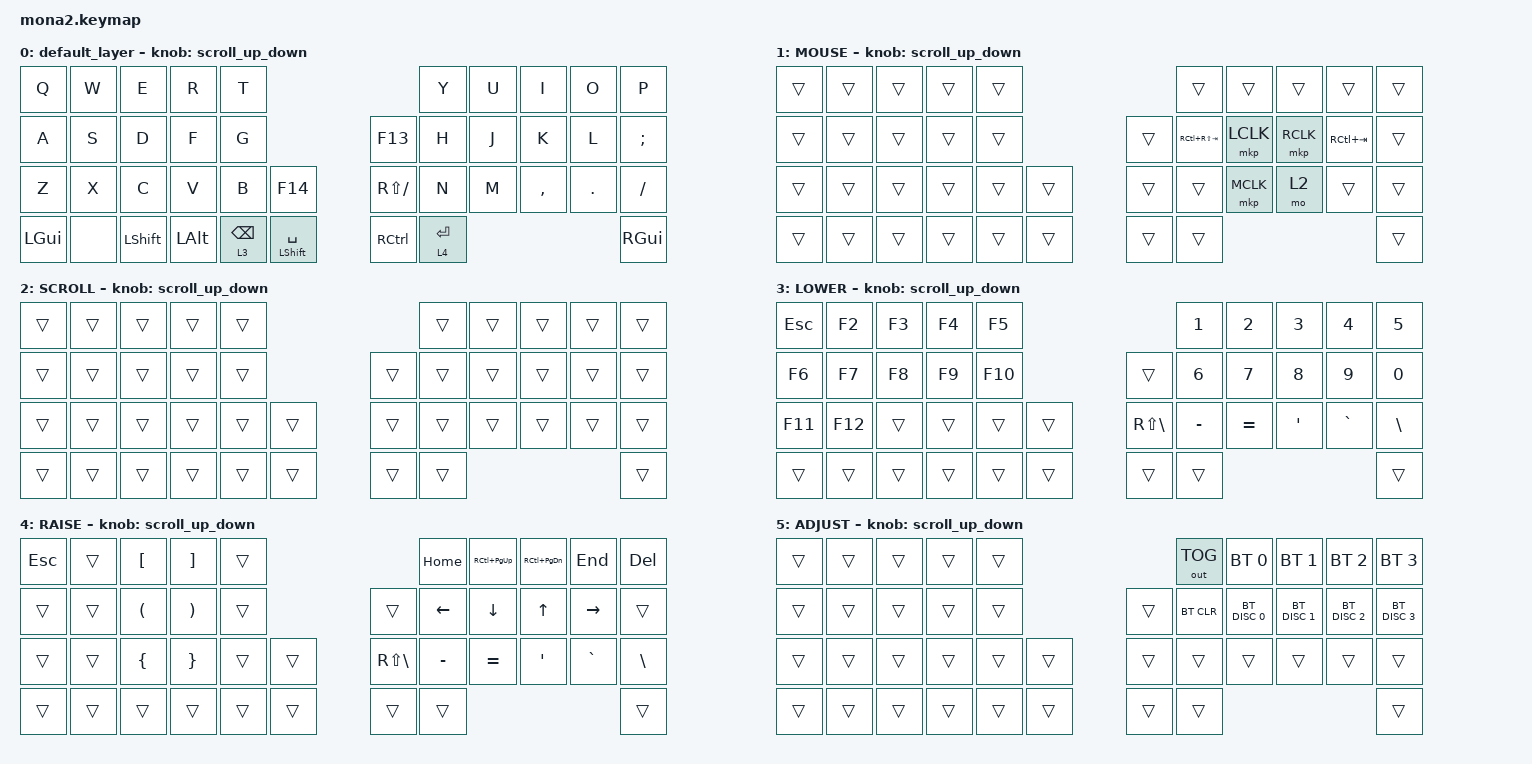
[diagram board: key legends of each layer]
#include <input/processors.dtsi>
#include <dt-bindings/zmk/input_transform.h>
#include <zephyr/dt-bindings/input/input-event-codes.h>
#include <behaviors.dtsi>
#include <dt-bindings/zmk/bt.h>
#include <dt-bindings/zmk/keys.h>
#include <dt-bindings/zmk/outputs.h>
#include <dt-bindings/zmk/pointing.h>

#define ZMK_POINTING_DEFAULT_SCRL_VAL 100
#define MOUSE 1
#define SCROLL 2

&mt {
    flavor = "balanced";
    quick-tap-ms = <0>;
};

&lt {
    quick-tap-ms = <300>;
    flavor = "balanced";
};

/ {
    combos {
        compatible = "zmk,combos";

        layer4_ESC {
            bindings = <&lt2 3 ESC>;
            key-positions = <39 38>;
        };

        WE_TAB {
            bindings = <&kp TAB>;
            timeout-ms = <20>;
            key-positions = <1 2>;
        };

        DF_LANG2 {
            bindings = <&kp LANG2>;
            timeout-ms = <20>;
            key-positions = <12 13>;
        };

        JK_LANG1 {
            bindings = <&kp LANG1>;
            timeout-ms = <20>;
            key-positions = <17 18>;
        };

        YU_CUT {
            bindings = <&kp LG(X)>;
            timeout-ms = <20>;
            key-positions = <6 5>;
        };

        HJ_COPY {
            bindings = <&kp LG(C)>;
            timeout-ms = <20>;
            key-positions = <16 17>;
        };

        RT_REDO {
            bindings = <&kp LG(Y)>;
            timeout-ms = <20>;
            key-positions = <4 3>;
        };

        FG_SEL {
            bindings = <&kp LG(A)>;
            timeout-ms = <20>;
            key-positions = <13 14>;
        };

        VB_UNDO {
            bindings = <&kp LG(Z)>;
            timeout-ms = <20>;
            key-positions = <25 24>;
        };

        NM_PASTE {
            bindings = <&kp RG(V)>;
            timeout-ms = <20>;
            key-positions = <28 29>;
        };
    };

    macros {
        to_layer_0: to_layer_0 {
            compatible = "zmk,behavior-macro-one-param";
            #binding-cells = <1>;
            bindings = <&to 0 &macro_param_1to1 &kp MACRO_PLACEHOLDER>;
            label = "TO_LAYER_0";
        };
    };

    behaviors {
        lt_to_layer_0: lt_to_layer_0 {
            compatible = "zmk,behavior-hold-tap";
            label = "LAYER_TAP_TO_0";
            bindings = <&mo>, <&to_layer_0>;

            #binding-cells = <2>;
            tapping-term-ms = <200>;
        };

        scroll_up_down: mouse_wheel_up_down {
            compatible = "zmk,behavior-sensor-rotate";
            #sensor-binding-cells = <0>;
            bindings = <&msc SCRL_UP>, <&msc SCRL_DOWN>;

            tap-ms = <20>;
        };

        scroll_right_left: mouse_wheel_right_left {
            compatible = "zmk,behavior-sensor-rotate";
            #sensor-binding-cells = <0>;
            bindings = <&msc SCRL_LEFT>, <&msc SCRL_RIGHT>;

            tap-ms = <20>;
        };

        mt2: mod_tap2 {
            compatible = "zmk,behavior-hold-tap";
            #binding-cells = <2>;
            flavor = "hold-preferred";
            tapping-term-ms = <200>;
            quick-tap-ms = <200>;
            require-prior-idle-ms = <125>;
            bindings = <&kp>, <&kp>;
        };

        lt2: layer_tap {
            compatible = "zmk,behavior-hold-tap";
            #binding-cells = <2>;
            flavor = "hold-preferred";
            tapping-term-ms = <200>;
            bindings = <&mo>, <&kp>;

            hold-while-undecided;
            display-name = "Layer-Tap";
        };
    };

    keymap {
        compatible = "zmk,keymap";

        default_layer {
            bindings = <
&kp Q     &kp W  &kp E      &kp R     &kp T                                                          &kp Y                   &kp U  &kp I      &kp O    &kp P
&kp A     &kp S  &kp D      &kp F     &kp G                                           &kp F13        &kp H                   &kp J  &kp K      &kp L    &kp SEMICOLON
&kp Z     &kp X  &kp C      &kp V     &kp B                       &kp F14             &kp RS(SLASH)  &kp N                   &kp M  &kp COMMA  &kp DOT  &kp SLASH
&kp LGUI  &none  &kp LSHFT  &kp LALT  &lt_to_layer_0 3 BACKSPACE  &mt2 LSHFT SPACE    &kp RCTRL      &lt_to_layer_0 4 ENTER                             &kp RGUI
            >;

            sensor-bindings = <&scroll_up_down>;
        };

        MOUSE {
            bindings = <
&trans  &trans  &trans  &trans  &trans                    &trans           &trans     &trans     &trans       &trans
&trans  &trans  &trans  &trans  &trans            &trans  &kp RC(RS(TAB))  &mkp LCLK  &mkp RCLK  &kp RC(TAB)  &trans
&trans  &trans  &trans  &trans  &trans  &trans    &trans  &trans           &mkp MCLK  &mo 2      &trans       &trans
&trans  &trans  &trans  &trans  &trans  &trans    &trans  &trans                                              &trans
            >;

            sensor-bindings = <&scroll_up_down>;
        };

        SCROLL {
            bindings = <
&trans  &trans  &trans  &trans  &trans                    &trans  &trans  &trans  &trans  &trans
&trans  &trans  &trans  &trans  &trans            &trans  &trans  &trans  &trans  &trans  &trans
&trans  &trans  &trans  &trans  &trans  &trans    &trans  &trans  &trans  &trans  &trans  &trans
&trans  &trans  &trans  &trans  &trans  &trans    &trans  &trans                          &trans
            >;

            sensor-bindings = <&scroll_up_down>;
        };

        LOWER {
            bindings = <
&kp ESC  &kp F2   &kp F3  &kp F4  &kp F5                                &kp N1     &kp N2     &kp N3            &kp N4     &kp N5
&kp F6   &kp F7   &kp F8  &kp F9  &kp F10            &trans             &kp N6     &kp N7     &kp N8            &kp N9     &kp N0
&kp F11  &kp F12  &trans  &trans  &trans   &trans    &kp RS(BACKSLASH)  &kp MINUS  &kp EQUAL  &kp SINGLE_QUOTE  &kp GRAVE  &kp BACKSLASH
&trans   &trans   &trans  &trans  &trans   &trans    &trans             &trans                                             &trans
            >;

            sensor-bindings = <&scroll_up_down>;
        };

        RAISE {
            bindings = <
&kp ESC  &trans  &kp LBKT              &kp RBKT               &trans                               &kp HOME   &kp RC(PG_UP)  &kp RC(PG_DN)     &kp END    &kp DEL
&trans   &trans  &kp LEFT_PARENTHESIS  &kp RIGHT_PARENTHESIS  &trans            &trans             &kp LEFT   &kp DOWN       &kp UP            &kp RIGHT  &trans
&trans   &trans  &kp LEFT_BRACE        &kp RIGHT_BRACE        &trans  &trans    &kp RS(BACKSLASH)  &kp MINUS  &kp EQUAL      &kp SINGLE_QUOTE  &kp GRAVE  &kp BACKSLASH
&trans   &trans  &trans                &trans                 &trans  &trans    &trans             &trans                                                 &trans
            >;

            sensor-bindings = <&scroll_up_down>;
        };

        ADJUST {
            bindings = <
&trans  &trans  &trans  &trans  &trans                    &out OUT_TOG  &bt BT_SEL 0   &bt BT_SEL 1   &bt BT_SEL 2   &bt BT_SEL 3
&trans  &trans  &trans  &trans  &trans            &trans  &bt BT_CLR    &bt BT_DISC 0  &bt BT_DISC 1  &bt BT_DISC 2  &bt BT_DISC 3
&trans  &trans  &trans  &trans  &trans  &trans    &trans  &trans        &trans         &trans         &trans         &trans
&trans  &trans  &trans  &trans  &trans  &trans    &trans  &trans                                                     &trans
            >;

            sensor-bindings = <&scroll_up_down>;
        };
    };

    conditional_layers {
        compatible = "zmk,conditional-layers";

        Adjust {
            if-layers = <3 4>;
            then-layer = <5>;
        };
    };
};
